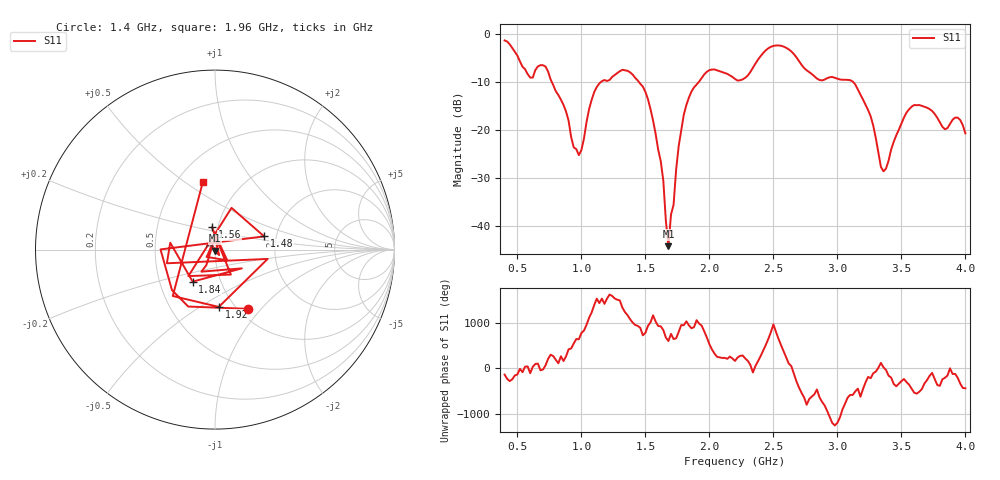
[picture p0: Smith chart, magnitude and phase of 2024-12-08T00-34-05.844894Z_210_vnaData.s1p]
!Created with skrf (http://scikit-rf.org).
# Hz S RI R 50.0
!freq ReS11 ImS11
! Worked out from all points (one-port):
!   181 points, 400 MHz to 4 GHz, reference 50 ohm
!   lowest |S11| = -44.3 dB at 1.68 GHz (marker M1), VSWR 1.01, Z = 49.8 - j0.564 ohm
!   |S11| at or under -10 dB: 769.2 MHz to 1.152 GHz (383 MHz wide, 39.9 % of centre); 1.45 GHz to 1.917 GHz (466.7 MHz wide, 27.7 % of centre); 3.124 GHz to end of sweep
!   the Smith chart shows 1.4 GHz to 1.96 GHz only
!   S11 on the Smith chart (normalised r, x): 1.4 GHz: 1.11, -0.86; 1.48 GHz: 1.73, +0.28; 1.56 GHz: 0.94, +0.24; 1.84 GHz: 0.73, -0.28; 1.92 GHz: 0.85, -0.60; 1.96 GHz: 0.67, +0.58
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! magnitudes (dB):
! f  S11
! 400 MHz  -1.3
! 600 MHz  -9.1
! 720 MHz  -6.8
! 860 MHz  -14.8
! 980 MHz  -25.3
! 1.1 GHz  -12.1
! 1.3 GHz  -7.7
! 1.4 GHz  -8.4
! 1.48 GHz  -10.9
! 1.56 GHz  -18.1
! 1.64 GHz  -30.6
! 1.68 GHz  -44.3
! 1.76 GHz  -23.4
! 1.84 GHz  -13.2
! 1.92 GHz  -9.9
! 1.96 GHz  -8.4
! 2.2 GHz  -9.3
! 2.48 GHz  -2.6
! 2.66 GHz  -4.1
! 2.86 GHz  -9.6
! 3.1 GHz  -9.6
! 3.26 GHz  -17.2
! 3.36 GHz  -28.7
! 3.56 GHz  -15.7
! 3.72 GHz  -15.6
! 3.84 GHz  -19.9
! 3.94 GHz  -17.4
! 4 GHz  -20.7
